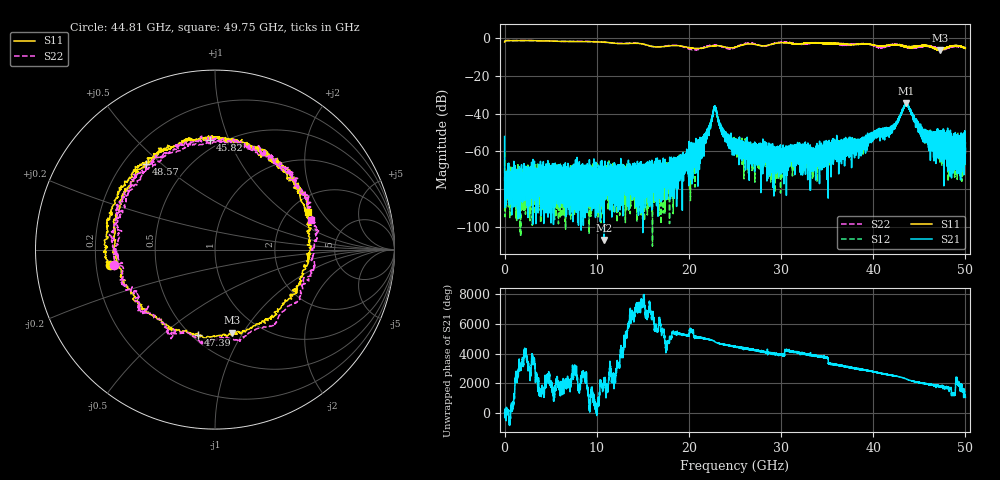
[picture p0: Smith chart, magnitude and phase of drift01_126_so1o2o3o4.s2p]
!Created with skrf (http://scikit-rf.org).
# Hz S RI R 50.0
!freq ReS11 ImS11 ReS21 ImS21 ReS12 ImS12 ReS22 ImS22
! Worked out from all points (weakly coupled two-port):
!   10001 points, 300 kHz to 50 GHz, reference 50 ohm
!   highest |S21| = -34.56 dB at 43.56 GHz (marker M1); lowest = -106.8 dB at 10.78 GHz (marker M2)
!   lowest |S11| = -6.5 dB at 47.23 GHz (marker M3), VSWR 2.79, Z = 37.5 - j44.7 ohm
!   |S11| at or under -10 dB: nowhere
!   |S22| runs from -6.4 to -1.4 dB; largest |S21 - S12| = 0.0048
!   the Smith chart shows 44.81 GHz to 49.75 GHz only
!   S11 on the Smith chart (normalised r, x): 44.81 GHz: 0.26, -0.07; 45.82 GHz: 0.44, +0.86; 47.39 GHz: 0.54, -0.67; 48.57 GHz: 0.29, +0.44; 49.75 GHz: 2.49, +1.54
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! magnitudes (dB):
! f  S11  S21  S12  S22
! 300 kHz  -2.2  -52.1  -60.1  -2.1
! 270.3 MHz  -1.4  -83.7  -76.8  -1.4
! 8.335 GHz  -1.9  -71.6  -74.7  -1.8
! 10.78 GHz  -2.2  -106.8  -69.9  -2.3
! 16.67 GHz  -4.8  -75.2  -69.6  -4.8
! 20.92 GHz  -5.6  -58.2  -59.6  -6.1
! 22.01 GHz  -4.8  -50.6  -49.9  -4.4
! 22.8 GHz  -4.3  -36.5  -36.3  -4.0
! 23.77 GHz  -4.6  -50.2  -50.6  -5.0
! 25 GHz  -5.0  -58.6  -55.3  -5.0
! 29.59 GHz  -2.8  -62.8  -59.9  -2.6
! 31.66 GHz  -3.2  -60.4  -62.4  -3.1
! 33.34 GHz  -2.6  -58.6  -60.8  -2.6
! 41.67 GHz  -3.9  -49.4  -50.1  -4.1
! 43.56 GHz  -4.7  -34.6  -35.2  -4.9
! 44.81 GHz  -4.5  -44.0  -47.3  -4.9
! 45.82 GHz  -4.3  -52.4  -52.6  -4.4
! 47.23 GHz  -6.5  -52.5  -51.9  -5.7
! 47.39 GHz  -6.3  -65.3  -54.1  -5.9
! 48.57 GHz  -4.3  -55.0  -63.9  -4.6
! 49.75 GHz  -5.0  -61.7  -51.8  -5.0
! 50 GHz  -5.4  -58.3  -57.2  -5.3
